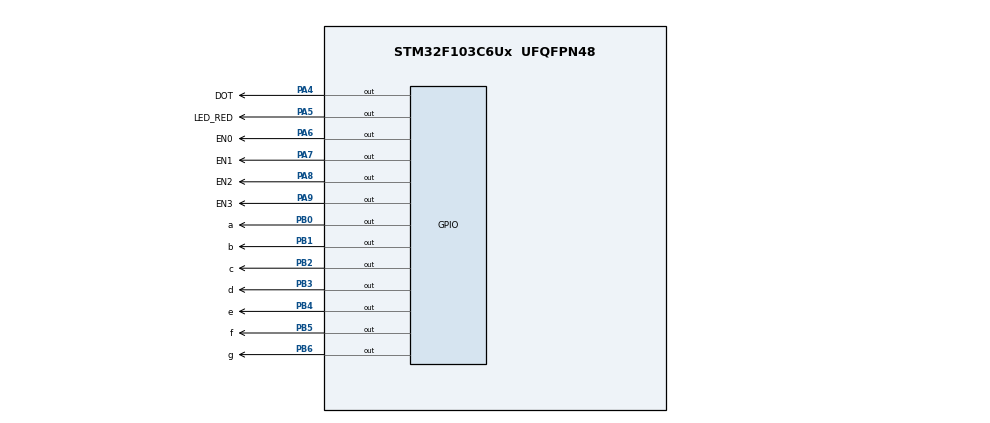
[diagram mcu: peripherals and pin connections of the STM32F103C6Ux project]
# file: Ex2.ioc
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Mcu.Family=STM32F1
Mcu.Name=STM32F103C6Ux
Mcu.Package=UFQFPN48
NVIC.PriorityGroup=NVIC_PRIORITYGROUP_4
NVIC.TIM2_IRQn=true\:0\:0\:false\:false\:true\:true\:true
PA4.GPIO_Label=DOT
PA4.Signal=GPIO_Output
PA5.GPIO_Label=LED_RED
PA5.Signal=GPIO_Output
PA6.GPIO_Label=EN0
PA6.Signal=GPIO_Output
PA7.GPIO_Label=EN1
PA7.Signal=GPIO_Output
PA8.GPIO_Label=EN2
PA8.Signal=GPIO_Output
PA9.GPIO_Label=EN3
PA9.Signal=GPIO_Output
PB0.GPIO_Label=a
PB0.Signal=GPIO_Output
PB1.GPIO_Label=b
PB1.Signal=GPIO_Output
PB2.GPIO_Label=c
PB2.Signal=GPIO_Output
PB3.GPIO_Label=d
PB3.Signal=GPIO_Output
PB4.GPIO_Label=e
PB4.Signal=GPIO_Output
PB5.GPIO_Label=f
PB5.Signal=GPIO_Output
PB6.GPIO_Label=g
PB6.Signal=GPIO_Output
ProjectManager.HeapSize=0x200
ProjectManager.StackSize=0x400
ProjectManager.TargetToolchain=STM32CubeIDE
RCC.APB1Freq_Value=8000000
RCC.APB2Freq_Value=8000000
TIM2.Period=9
TIM2.Prescaler=7999
VP_SYS_VS_ND.Mode=No_Debug
VP_TIM2_VS_ClockSourceINT.Mode=Internal
board=custom

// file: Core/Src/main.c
/* USER CODE BEGIN Header */
/**
  ******************************************************************************
  * @file           : main.c
  * @brief          : Main program body
  ******************************************************************************
  * @attention
  *
  * <h2><center>&copy; Copyright (c) 2026 STMicroelectronics.
  * All rights reserved.</center></h2>
  *
  * This software component is licensed by ST under BSD 3-Clause license,
  * the "License"; You may not use this file except in compliance with the
  * License. You may obtain a copy of the License at:
  *                        opensource.org/licenses/BSD-3-Clause
  *
  ******************************************************************************
  */
/* USER CODE END Header */
#include "main.h"

TIM_HandleTypeDef htim2;

void SystemClock_Config(void);
static void MX_GPIO_Init(void);
static void MX_TIM2_Init(void);

int main(void)
{

  /* MCU Configuration--------------------------------------------------------*/

  /* Reset of all peripherals, Initializes the Flash interface and the Systick. */
  HAL_Init();

  /* Configure the system clock */
  SystemClock_Config();

  /* Initialize all configured peripherals */
  MX_GPIO_Init();
  MX_TIM2_Init();
  /* USER CODE BEGIN 2 */
  HAL_TIM_Base_Start_IT (& htim2 );
  /* USER CODE END 2 */

  /* Infinite loop */
  while (1)
  {

  }
}

void SystemClock_Config(void)
{
  RCC_OscInitTypeDef RCC_OscInitStruct = {0};
  RCC_ClkInitTypeDef RCC_ClkInitStruct = {0};

  /** Initializes the RCC Oscillators according to the specified parameters
  * in the RCC_OscInitTypeDef structure.
  */
  RCC_OscInitStruct.OscillatorType = RCC_OSCILLATORTYPE_HSI;
  RCC_OscInitStruct.HSIState = RCC_HSI_ON;
  RCC_OscInitStruct.HSICalibrationValue = RCC_HSICALIBRATION_DEFAULT;
  RCC_OscInitStruct.PLL.PLLState = RCC_PLL_NONE;
  if (HAL_RCC_OscConfig(&RCC_OscInitStruct) != HAL_OK)
  {
    Error_Handler();
  }
  /** Initializes the CPU, AHB and APB buses clocks
  */
  RCC_ClkInitStruct.ClockType = RCC_CLOCKTYPE_HCLK|RCC_CLOCKTYPE_SYSCLK
                              |RCC_CLOCKTYPE_PCLK1|RCC_CLOCKTYPE_PCLK2;
  RCC_ClkInitStruct.SYSCLKSource = RCC_SYSCLKSOURCE_HSI;
  RCC_ClkInitStruct.AHBCLKDivider = RCC_SYSCLK_DIV1;
  RCC_ClkInitStruct.APB1CLKDivider = RCC_HCLK_DIV1;
  RCC_ClkInitStruct.APB2CLKDivider = RCC_HCLK_DIV1;

  if (HAL_RCC_ClockConfig(&RCC_ClkInitStruct, FLASH_LATENCY_0) != HAL_OK)
  {
    Error_Handler();
  }
}

static void MX_TIM2_Init(void)
{

  TIM_ClockConfigTypeDef sClockSourceConfig = {0};
  TIM_MasterConfigTypeDef sMasterConfig = {0};

  htim2.Instance = TIM2;
  htim2.Init.Prescaler = 7999;
  htim2.Init.CounterMode = TIM_COUNTERMODE_UP;
  htim2.Init.Period = 9;
  htim2.Init.ClockDivision = TIM_CLOCKDIVISION_DIV1;
  htim2.Init.AutoReloadPreload = TIM_AUTORELOAD_PRELOAD_DISABLE;
  if (HAL_TIM_Base_Init(&htim2) != HAL_OK)
  {
    Error_Handler();
  }
  sClockSourceConfig.ClockSource = TIM_CLOCKSOURCE_INTERNAL;
  if (HAL_TIM_ConfigClockSource(&htim2, &sClockSourceConfig) != HAL_OK)
  {
    Error_Handler();
  }
  sMasterConfig.MasterOutputTrigger = TIM_TRGO_RESET;
  sMasterConfig.MasterSlaveMode = TIM_MASTERSLAVEMODE_DISABLE;
  if (HAL_TIMEx_MasterConfigSynchronization(&htim2, &sMasterConfig) != HAL_OK)
  {
    Error_Handler();
  }

}

static void MX_GPIO_Init(void)
{
  GPIO_InitTypeDef GPIO_InitStruct = {0};

  /* GPIO Ports Clock Enable */
  __HAL_RCC_GPIOA_CLK_ENABLE();
  __HAL_RCC_GPIOB_CLK_ENABLE();

  /*Configure GPIO pin Output Level */
  HAL_GPIO_WritePin(GPIOA, DOT_Pin|LED_RED_Pin|EN0_Pin|EN1_Pin
                          |EN2_Pin|EN3_Pin, GPIO_PIN_RESET);

  /*Configure GPIO pin Output Level */
  HAL_GPIO_WritePin(GPIOB, a_Pin|b_Pin|c_Pin|d_Pin
                          |e_Pin|f_Pin|g_Pin, GPIO_PIN_RESET);

  /*Configure GPIO pins : DOT_Pin LED_RED_Pin EN0_Pin EN1_Pin
                           EN2_Pin EN3_Pin */
  GPIO_InitStruct.Pin = DOT_Pin|LED_RED_Pin|EN0_Pin|EN1_Pin
                          |EN2_Pin|EN3_Pin;
  GPIO_InitStruct.Mode = GPIO_MODE_OUTPUT_PP;
  GPIO_InitStruct.Pull = GPIO_NOPULL;
  GPIO_InitStruct.Speed = GPIO_SPEED_FREQ_LOW;
  HAL_GPIO_Init(GPIOA, &GPIO_InitStruct);

  /*Configure GPIO pins : a_Pin b_Pin c_Pin d_Pin
                           e_Pin f_Pin g_Pin */
  GPIO_InitStruct.Pin = a_Pin|b_Pin|c_Pin|d_Pin
                          |e_Pin|f_Pin|g_Pin;
  GPIO_InitStruct.Mode = GPIO_MODE_OUTPUT_PP;
  GPIO_InitStruct.Pull = GPIO_NOPULL;
  GPIO_InitStruct.Speed = GPIO_SPEED_FREQ_LOW;
  HAL_GPIO_Init(GPIOB, &GPIO_InitStruct);

}

/* USER CODE BEGIN 4 */
void display7SEG(int num) {
  	  //array
        uint8_t seg7[10][7] = {
          // a  b  c  d  e  f  g
            {0, 0, 0, 0, 0, 0, 1}, // 0
            {1, 0, 0, 1, 1, 1, 1}, // 1
            {0, 0, 1, 0, 0, 1, 0}, // 2
            {0, 0, 0, 0, 1, 1, 0}, // 3
            {1, 0, 0, 1, 1, 0, 0}, // 4
            {0, 1, 0, 0, 1, 0, 0}, // 5
            {0, 1, 0, 0, 0, 0, 0}, // 6
            {0, 0, 0, 1, 1, 1, 1}, // 7
            {0, 0, 0, 0, 0, 0, 0}, // 8
            {0, 0, 0, 0, 1, 0, 0}  // 9
        };

        HAL_GPIO_WritePin(GPIOB, a_Pin, seg7[num][0]); // a
        HAL_GPIO_WritePin(GPIOB, b_Pin, seg7[num][1]); // b
        HAL_GPIO_WritePin(GPIOB, c_Pin, seg7[num][2]); // c
        HAL_GPIO_WritePin(GPIOB, d_Pin, seg7[num][3]); // d
        HAL_GPIO_WritePin(GPIOB, e_Pin, seg7[num][4]); // e
        HAL_GPIO_WritePin(GPIOB, f_Pin, seg7[num][5]); // f
        HAL_GPIO_WritePin(GPIOB, g_Pin, seg7[num][6]); // g
    }

int counter=50;
int dot_counter=100;
int led_flag=0;
void HAL_TIM_PeriodElapsedCallback ( TIM_HandleTypeDef * htim ){
	counter--;
	if(counter<=0){
		counter=50;
		if(led_flag==0){
			HAL_GPIO_WritePin(GPIOA, EN1_Pin|EN2_Pin|EN3_Pin, GPIO_PIN_SET);
			display7SEG(1);
			HAL_GPIO_WritePin(GPIOA, EN0_Pin, GPIO_PIN_RESET);
			led_flag=1;
		}
		else if(led_flag==1){
			HAL_GPIO_WritePin(GPIOA, EN0_Pin|EN2_Pin|EN3_Pin, GPIO_PIN_SET);
			display7SEG(2);
			HAL_GPIO_WritePin(GPIOA, EN1_Pin, GPIO_PIN_RESET);
			led_flag=2;
		}
		else if(led_flag==2){
			HAL_GPIO_WritePin(GPIOA, EN0_Pin|EN1_Pin|EN3_Pin, GPIO_PIN_SET);
			display7SEG(3);
			HAL_GPIO_WritePin(GPIOA, EN2_Pin, GPIO_PIN_RESET);
			led_flag=3;
		}
		else{
			HAL_GPIO_WritePin(GPIOA, EN0_Pin|EN1_Pin|EN2_Pin, GPIO_PIN_SET);
			display7SEG(0);
			HAL_GPIO_WritePin(GPIOA, EN3_Pin, GPIO_PIN_RESET);
			led_flag=0;
		}
	}
	dot_counter--;
	if(dot_counter<=0){
		dot_counter=100;
		HAL_GPIO_TogglePin(GPIOA, DOT_Pin);
	}
}

/* USER CODE END 4 */

void Error_Handler(void)
{
  __disable_irq();
  while (1)
  {
  }
}

/************************ (C) COPYRIGHT STMicroelectronics *****END OF FILE****/
